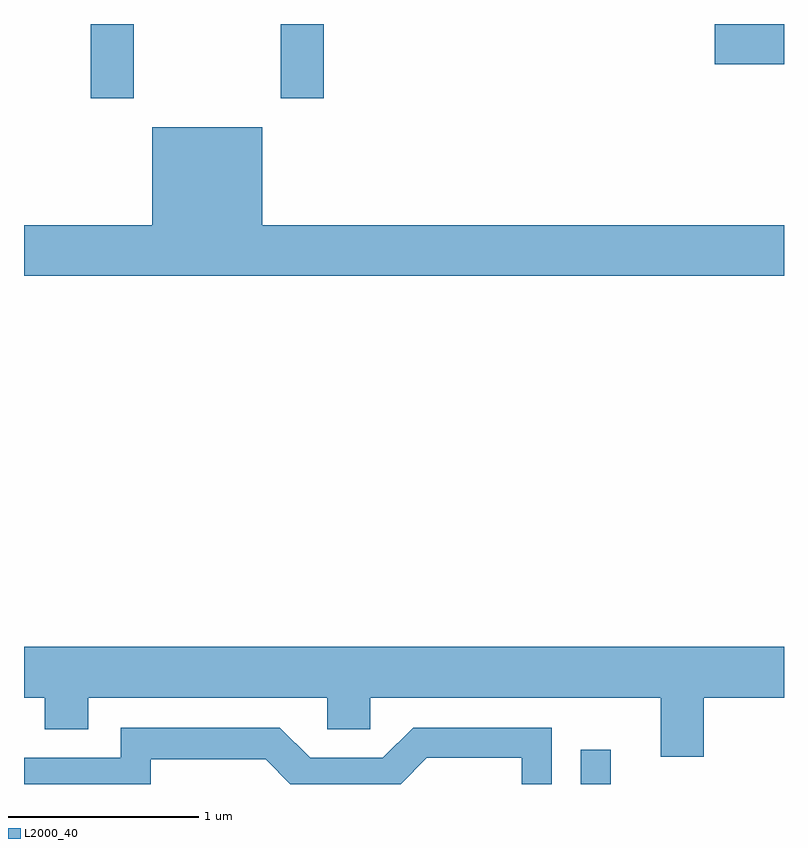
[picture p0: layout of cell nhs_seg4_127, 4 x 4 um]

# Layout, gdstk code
import gdstk
lib = gdstk.Library(unit=1e-6, precision=1e-09)
def R(c, l, rs):  # rectangles x0, y0, x1, y1
    for r in rs: c.add(gdstk.rectangle(r[:2], r[2:], *l))
def P(c, l, *ps):  # polygons
    for p in ps: c.add(gdstk.Polygon(p, *l))
L2000_40 = (2000, 40)

nhs_seg4_127 = lib.new_cell('nhs_seg4_127')
R(nhs_seg4_127, L2000_40, [(190.541,1371.982,190.699,1372.163), (187.961,1375.591,188.189,1375.982), (188.961,1375.591,189.189,1375.982), (191.246,1375.771,191.611,1375.982)])
P(nhs_seg4_127, L2000_40, [(191.611,1374.924),(188.864,1374.924),(188.864,1375.439),(188.286,1375.439),(188.286,1374.924),(187.611,1374.924),(187.611,1374.656),(191.611,1374.656)],
  [(191.189,1372.436),(191.611,1372.436),(191.611,1372.704),(187.611,1372.704),(187.611,1372.436),(187.721,1372.436),(187.721,1372.271),(187.949,1372.271),(187.949,1372.436),(189.206,1372.436),(189.206,1372.271),(189.434,1372.271),(189.434,1372.436),(190.961,1372.436),(190.961,1372.126),(191.189,1372.126)],
  [(188.279,1372.111),(188.884,1372.111),(189.013,1371.982),(189.593,1371.982),(189.732,1372.121),(190.231,1372.121),(190.231,1371.982),(190.389,1371.982),(190.389,1372.279),(189.659,1372.279),(189.499,1372.119),(189.117,1372.119),(188.957,1372.279),(188.121,1372.279),(188.121,1372.119),(187.611,1372.119),(187.611,1371.982),(188.279,1371.982)])

lib.write_gds('nhs_seg4_127.gds')
